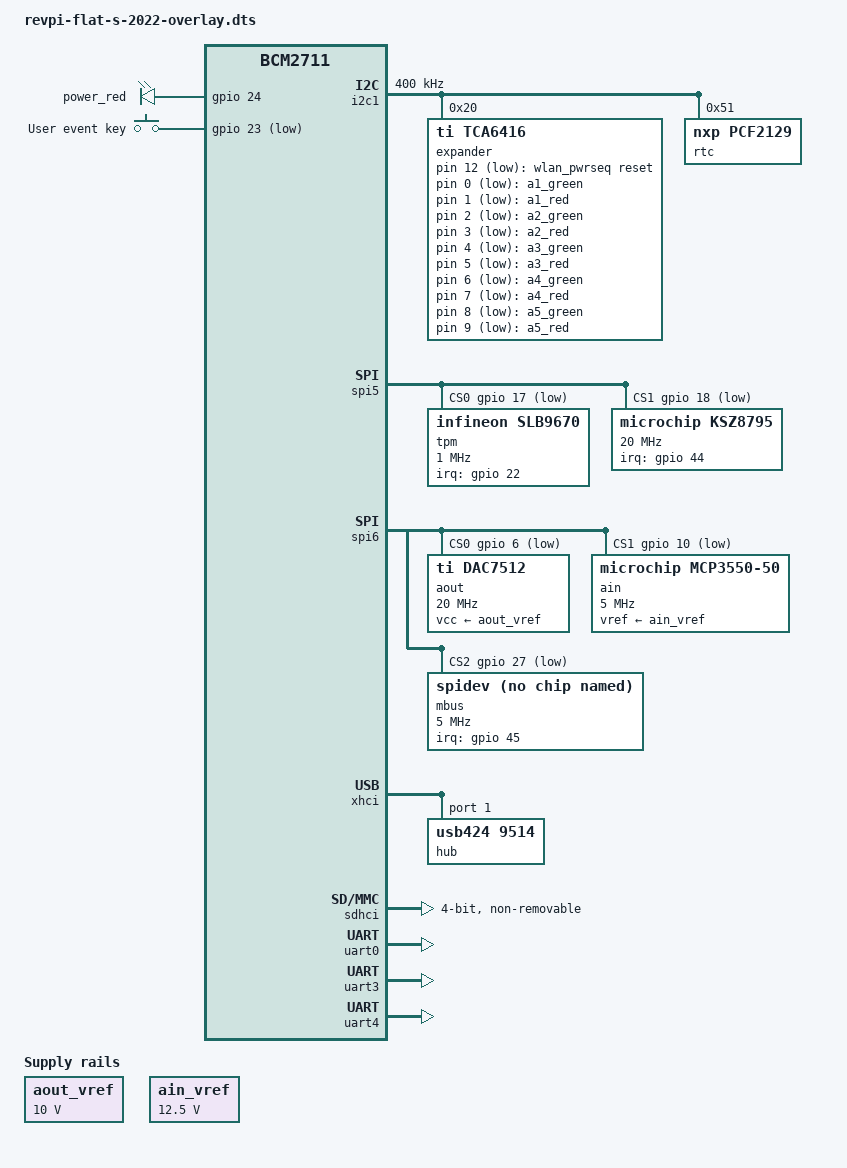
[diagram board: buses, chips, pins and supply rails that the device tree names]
/*
 * Device tree overlay for Revolution Pi by KUNBUS
 *
 * RevPi Flat S (2022)
 */

/dts-v1/;
/plugin/;
#include <dt-bindings/gpio/gpio.h>
#include <dt-bindings/input/input.h>
#include <dt-bindings/interrupt-controller/irq.h>
#include <dt-bindings/pinctrl/bcm2835.h>

/{
	compatible = "brcm,bcm2711";

	fragment@0 {
		target-path = "/";
		__overlay__ {
			compatible = "kunbus,revpi-flat-s-2022",
				     "kunbus,revpi-flat", "brcm,bcm2711";

			aout_vref: fixedregulator_2v5x4 {
				compatible = "regulator-fixed";
				regulator-name = "2v5_x4_amplified";
				regulator-min-microvolt = <10000000>;
				regulator-max-microvolt = <10000000>;
				regulator-always-on;
			};

			ain_vref: fixedregulator_2v5x5 {
				compatible = "regulator-fixed";
				regulator-name = "2v5_x5_amplified";
				regulator-min-microvolt = <12500000>;
				regulator-max-microvolt = <12500000>;
				regulator-always-on;
			};

			wlan_pwrseq: wlan_pwrseq {
				compatible = "mmc-pwrseq-simple";
				reset-gpios = <&expander 12 GPIO_ACTIVE_LOW>;
			};

			leds {
				compatible = "gpio-leds";
				pinctrl-names = "default";
				pinctrl-0 = <&pwr_led_pins>;

				power_red {
					gpios = <&gpio 24 GPIO_ACTIVE_HIGH>;
					linux,default-trigger = "power_red";
				};
				a1_green {
					gpios = <&expander 0 GPIO_ACTIVE_LOW>;
					linux,default-trigger = "a1_green";
				};
				a1_red {
					gpios = <&expander 1 GPIO_ACTIVE_LOW>;
					linux,default-trigger = "a1_red";
				};
				a2_green {
					gpios = <&expander 2 GPIO_ACTIVE_LOW>;
					linux,default-trigger = "a2_green";
				};
				a2_red {
					gpios = <&expander 3 GPIO_ACTIVE_LOW>;
					linux,default-trigger = "a2_red";
				};
				a3_green {
					gpios = <&expander 4 GPIO_ACTIVE_LOW>;
					linux,default-trigger = "a3_green";
				};
				a3_red {
					gpios = <&expander 5 GPIO_ACTIVE_LOW>;
					linux,default-trigger = "a3_red";
				};
				a4_green {
					gpios = <&expander 6 GPIO_ACTIVE_LOW>;
					linux,default-trigger = "a4_green";
				};
				a4_red {
					gpios = <&expander 7 GPIO_ACTIVE_LOW>;
					linux,default-trigger = "a4_red";
				};
				a5_green {
					gpios = <&expander 8 GPIO_ACTIVE_LOW>;
					linux,default-trigger = "a5_green";
				};
				a5_red {
					gpios = <&expander 9 GPIO_ACTIVE_LOW>;
					linux,default-trigger = "a5_red";
				};
				led-act {
					status = "disabled";
				};
			};

			gpio-keys {
				compatible = "gpio-keys";
				pinctrl-names = "default";
				pinctrl-0 = <&button_pins>;
				user-event {
					label = "User event key";
					gpios = <&gpio 23 GPIO_ACTIVE_LOW>;
					linux,code = <KEY_UNKNOWN>;
				};
			};
		};
	};

	fragment@1 {
		target = <&gpio>;
		__overlay__ {
			pinctrl-names = "default";
			pinctrl-0 = <&relais_pins>;

			pwr_led_pins: pwr_led_pins {
				brcm,pins = <24>;
				brcm,function = <BCM2835_FSEL_GPIO_OUT>;
			};
			spi_5_pins: spi_5_pins {
				brcm,pins = <13 14 15>;
				brcm,function = <BCM2835_FSEL_ALT3>;
			};
			spi_5_cs_pins: spi_5_cs_pins {
				/* tpm ksz*/
				brcm,pins     = <17 18>;
				brcm,function = <BCM2835_FSEL_GPIO_OUT>;
				brcm,pull     = <BCM2835_PUD_OFF>;
			};
			spi_6_pins: spi_6_pins {
				brcm,pins = <19 20 21>;
				brcm,function = <BCM2835_FSEL_ALT3>;
			};
			spi_6_cs_pins: spi_6_cs_pins {
				/* aout ain mbus */
				brcm,pins     = <6 10 27>;
				brcm,function = <BCM2835_FSEL_GPIO_OUT>;
				brcm,pull     = <BCM2835_PUD_OFF>;
			};
			tpm_pins: tpm_pins {
				/* irq */
				brcm,pins     = <22>;
				brcm,function = <BCM2835_FSEL_GPIO_IN>;
				// TODO: ask HW about external pull up
				brcm,pull     = <BCM2835_PUD_UP>;
			};
			mbus_pins: mbus_pins {
				/* irq */
				brcm,pins     = <45>;
				brcm,function = <BCM2835_FSEL_GPIO_IN>;
				brcm,pull     = <BCM2835_PUD_OFF>;
			};
			button_pins: button_pins {
				brcm,pins     = <23>;
				brcm,function = <BCM2835_FSEL_GPIO_IN>;
				brcm,pull     = <BCM2835_PUD_OFF>;
			};
			relais_pins: relais_pins {
				brcm,pins     = <28>;
				brcm,function = <BCM2835_FSEL_GPIO_OUT>;
				brcm,pull     = <BCM2835_PUD_OFF>;
			};
			rs485_0_pins: rs485_0_pins {
				/* tx rx rts */
				brcm,pins     = <4 5 7>;
				brcm,function = <BCM2835_FSEL_ALT4>;
				// TODO: ask HW about external pulls
				brcm,pull     = <BCM2835_PUD_DOWN
						 BCM2835_PUD_OFF
						 BCM2835_PUD_UP>;
			};
			rs485_1_pins: rs485_1_pins {
				/* tx rx rts */
				brcm,pins     = <8 9 11>;
				brcm,function = <BCM2835_FSEL_ALT4>;
				// TODO: ask HW about external pulls
				brcm,pull     = <BCM2835_PUD_DOWN
						 BCM2835_PUD_OFF
						 BCM2835_PUD_UP>;
			};
			i2c_1_pins: i2c_1_pins {
				brcm,pins = <2 3>;
				brcm,function = <BCM2835_FSEL_ALT0>;
			};
			sdhci_pins: sdhci_pins {
				brcm,pins = <34 35 36 37 38 39>;
				brcm,function = <BCM2835_FSEL_ALT3>;
				brcm,pull = <BCM2835_PUD_OFF>;
			};
			bluetooth_pins: bluetooth_pins {
				brcm,pins = <30 31 32 33>;
				brcm,function = <BCM2835_FSEL_ALT3>;
				brcm,pull = <BCM2835_PUD_OFF>;
			};

		};
	};

	fragment@2 {
		target = <&i2c1>;
		__overlay__ {
			#address-cells = <1>;
			#size-cells = <0>;
			pinctrl-names = "default";
			pinctrl-0 = <&i2c_1_pins>;
			clock-frequency = <400000>;
			status = "okay";

			expander: gpio@20 {
				compatible = "ti,tca6416";
				reg = <0x20>;
				gpio-controller;
				#gpio-cells = <2>;
				status = "okay";
			};

			rtc@51 {
				compatible = "nxp,pcf2129";
				reg = <0x51>;
				reset-source;
				status = "okay";
			};
		};
	};

	fragment@3 {
		target = <&spi5>;
		__overlay__ {
			#address-cells = <1>;
			#size-cells = <0>;
			cs-gpios = <&gpio 17 GPIO_ACTIVE_LOW>,
				   <&gpio 18 GPIO_ACTIVE_LOW>;
			pinctrl-names = "default";
			pinctrl-0 = <&spi_5_pins &spi_5_cs_pins>;
			status = "okay";

			tpm: tpm@0 {
				compatible = "infineon,slb9670";
				pinctrl-names = "default";
				pinctrl-0 = <&tpm_pins>;
				reg = <0>;
				spi-max-frequency = <1000000>;
				interrupt-parent = <&gpio>;
				#interrupt-cells = <2>;
				interrupts = <22 IRQ_TYPE_LEVEL_LOW>;
				status = "okay";
			};

			ksz8795: switch@1 {
				// TODO: use DSA?
				compatible = "microchip,ksz8795";
				// NOTE: reduce this if device is not working properly
				spi-max-frequency = <20000000>;
				reg = <1>;
				interrupt-parent = <&gpio>;
				#interrupt-cells = <2>;
				interrupts = <44 IRQ_TYPE_LEVEL_LOW>;
				status = "okay";
			};
		};
	};

	fragment@4 {
		target = <&spi6>;
		__overlay__ {
			#address-cells = <1>;
			#size-cells = <0>;
			cs-gpios = <&gpio 6 GPIO_ACTIVE_LOW>,
				   <&gpio 10 GPIO_ACTIVE_LOW>,
				   <&gpio 27 GPIO_ACTIVE_LOW>;
			pinctrl-names = "default";
			pinctrl-0 = <&spi_6_pins &spi_6_cs_pins>;
			status = "okay";

			aout: dac@0 {
				compatible = "ti,dac7512";
				reg = <0>;
				spi-max-frequency = <20000000>;
				spi-cpol;
				vcc-supply = <&aout_vref>;
				status = "okay";
			};

			ain: adc@1 {
				compatible = "microchip,mcp3550-50";
				reg = <1>;
				spi-max-frequency = <5000000>;
				vref-supply = <&ain_vref>;
				status = "okay";
			};

			mbus: rf@2 {
				compatible = "spidev", "ti,cc1101";
				pinctrl-names = "default";
				pinctrl-0 = <&mbus_pins>;
				reg = <2>;
				spi-max-frequency = <5000000>;
				interrupt-parent = <&gpio>;
				#interrupt-cells = <2>;
				interrupts = <45 IRQ_TYPE_LEVEL_HIGH>;
				status = "okay";
			};
		};
	};

	fragment@5 {
		target = <&xhci>;
		#address-cells = <1>;
		#size-cells = <1>;
		xhci_usb: __overlay__ {
			status = "okay";

			hub@1 {
				/* SMSC LAN9514 */
				compatible = "usb424,9514";
				reg = <1>;
				#address-cells = <1>;
				#size-cells = <0>;

				eth0: ethernet@1 {
					compatible = "usb424,ec00";
					reg = <1>;
				};

				eth1: ethernet@4 {
					/* SMSC LAN9500, attached to KSZ8795 */
					compatible = "usb424,9500";
					reg = <4>;
				};
			};
		};
	};

	fragment@6 {
		target = <&sdhci>;
		__overlay__ {
			#address-cells = <1>;
			#size-cells = <0>;
			pinctrl-names = "default";
			pinctrl-0 = <&sdhci_pins>;
			bus-width = <4>;
			non-removable;
			max-frequency = <28000000>;
			mmc-pwrseq = <&wlan_pwrseq>;
			status = "okay";

			sdxxx-wlan {
				cfg80211_wext = <0xf>;
				cal_data_cfg = "none";
				max_vir_bss=<1>;
				ps_mode=<1>;
				auto_ds=<1>;
				host_mlme=<1>;
				fw_name="nxp/sdiouartiw416_combo_v0.bin";
			};
		};
	};

	fragment@7 {
		target = <&uart0>;
		__overlay__ {
			pinctrl-names = "default";
			pinctrl-0 = <&bluetooth_pins>;
			status = "okay";
		};
	};

	fragment@8 {
		target = <&uart3>;
		__overlay__ {
			linux,rs485-enabled-at-boot-time;
			rs485-rts-active-low;
			pinctrl-names = "default";
			pinctrl-0 = <&rs485_0_pins>;
			rs485-term-gpios = <&expander 14 GPIO_ACTIVE_LOW>;
			status = "okay";
		};
	};

	fragment@9 {
		target = <&uart4>;
		__overlay__ {
			linux,rs485-enabled-at-boot-time;
			rs485-rts-active-low;
			pinctrl-names = "default";
			pinctrl-0 = <&rs485_1_pins>;
			rs485-term-gpios = <&expander 15 GPIO_ACTIVE_LOW>;
			status = "okay";
		};
	};

	fragment@10 {
		target = <&hdmi0>;
		__overlay__ {
			status = "disabled";
		};
	};

	fragment@11 {
		target = <&ddc0>;
		__overlay__ {
			status = "disabled";
		};
	};

	fragment@12 {
		target-path = "/chosen";
		chosen_overlay: __overlay__ {
		};
	};

	__overrides__ {
		bootargs = <&chosen_overlay>,"bootargs";
	};
};
